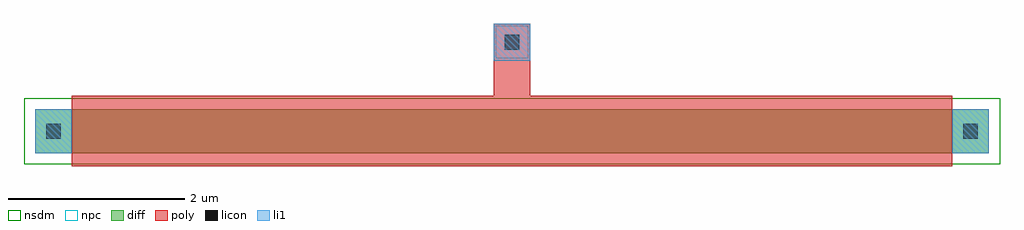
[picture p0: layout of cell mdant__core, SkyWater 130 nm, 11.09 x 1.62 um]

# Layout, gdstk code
import gdstk
lib = gdstk.Library(unit=1e-6, precision=1e-09)
def R(c, l, rs):  # rectangles x0, y0, x1, y1
    for r in rs: c.add(gdstk.rectangle(r[:2], r[2:], *l))
diff = (65, 20)
poly = (66, 20)
licon = (66, 44)
li1 = (67, 20)
nsdm = (93, 44)
npc = (95, 20)

mdant__core = lib.new_cell('mdant__core')
R(mdant__core, diff, [(0,0,10.84,0.5)])
R(mdant__core, poly, [(0.42,-0.15,10.42,0.5), (0.42,0.5,10.42,0.65), (0.42,0.5,10.42,0.65), (5.21,0.65,5.63,1.47)])
R(mdant__core, licon, [(0.125,0.165,0.295,0.335), (10.545,0.165,10.715,0.335), (5.335,1.175,5.505,1.345)])
R(mdant__core, li1, [(0,0,0.42,0.5), (10.42,0,10.84,0.5), (5.21,1.05,5.63,1.47)])
R(mdant__core, nsdm, [(-0.125,-0.125,10.965,0.625)])
R(mdant__core, npc, [(5.235,1.075,5.605,1.445)])

lib.write_gds('mdant__core.gds')
